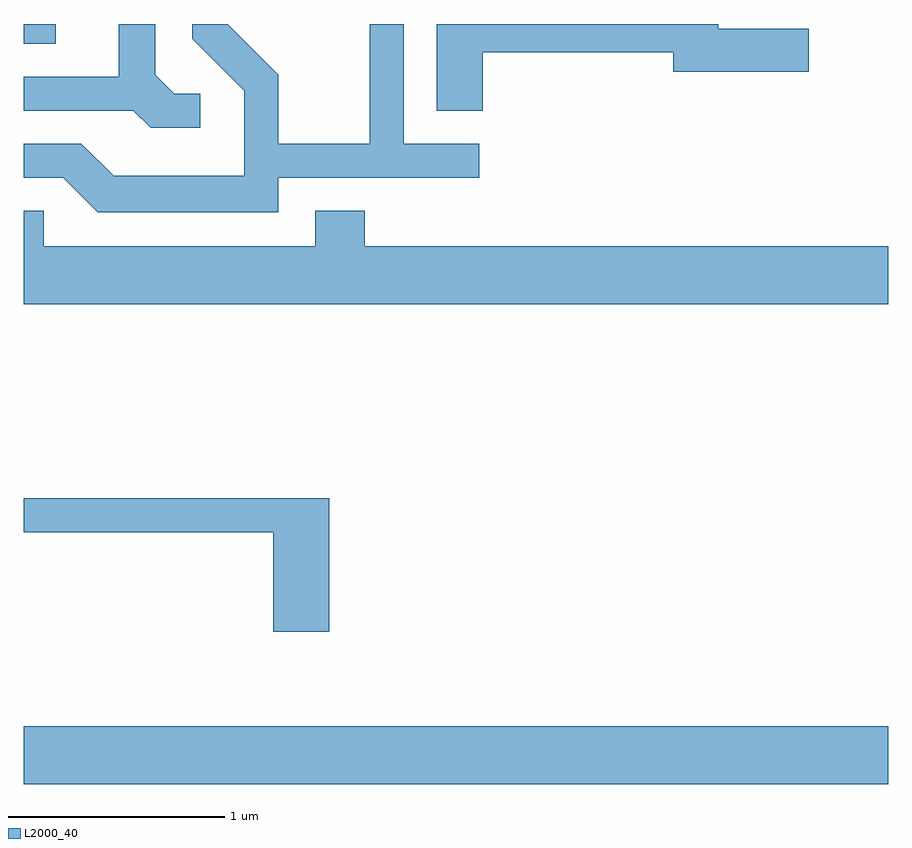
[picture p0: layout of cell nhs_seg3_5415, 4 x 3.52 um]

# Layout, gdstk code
import gdstk
lib = gdstk.Library(unit=1e-6, precision=1e-09)
def R(c, l, rs):  # rectangles x0, y0, x1, y1
    for r in rs: c.add(gdstk.rectangle(r[:2], r[2:], *l))
def P(c, l, *ps):  # polygons
    for p in ps: c.add(gdstk.Polygon(p, *l))
L2000_40 = (2000, 40)

nhs_seg3_5415 = lib.new_cell('nhs_seg3_5415')
R(nhs_seg3_5415, L2000_40, [(343.611,1210.376,347.611,1210.644), (343.611,1213.801,343.759,1213.892)])
P(nhs_seg3_5415, L2000_40, [(344.789,1213.181),(345.718,1213.181),(345.718,1213.339),(345.369,1213.339),(345.369,1213.892),(345.211,1213.892),(345.211,1213.339),(344.789,1213.339),(344.789,1213.657),(344.554,1213.892),(344.391,1213.892),(344.391,1213.824),(344.631,1213.584),(344.631,1213.189),(344.027,1213.189),(343.877,1213.339),(343.611,1213.339),(343.611,1213.181),(343.794,1213.181),(343.954,1213.021),(344.789,1213.021)],
  [(344.428,1213.569),(344.307,1213.569),(344.219,1213.657),(344.219,1213.892),(344.051,1213.892),(344.051,1213.649),(343.611,1213.649),(343.611,1213.491),(344.119,1213.491),(344.199,1213.411),(344.428,1213.411)],
  [(345.734,1213.761),(346.616,1213.761),(346.616,1213.671),(347.244,1213.671),(347.244,1213.869),(346.824,1213.869),(346.824,1213.892),(345.521,1213.892),(345.521,1213.491),(345.734,1213.491)],
  [(347.611,1212.864),(345.189,1212.864),(345.189,1213.029),(344.961,1213.029),(344.961,1212.864),(343.704,1212.864),(343.704,1213.029),(343.611,1213.029),(343.611,1212.596),(347.611,1212.596)],
  [(345.024,1211.699),(343.611,1211.699),(343.611,1211.541),(344.766,1211.541),(344.766,1211.081),(345.024,1211.081)])

lib.write_gds('nhs_seg3_5415.gds')
